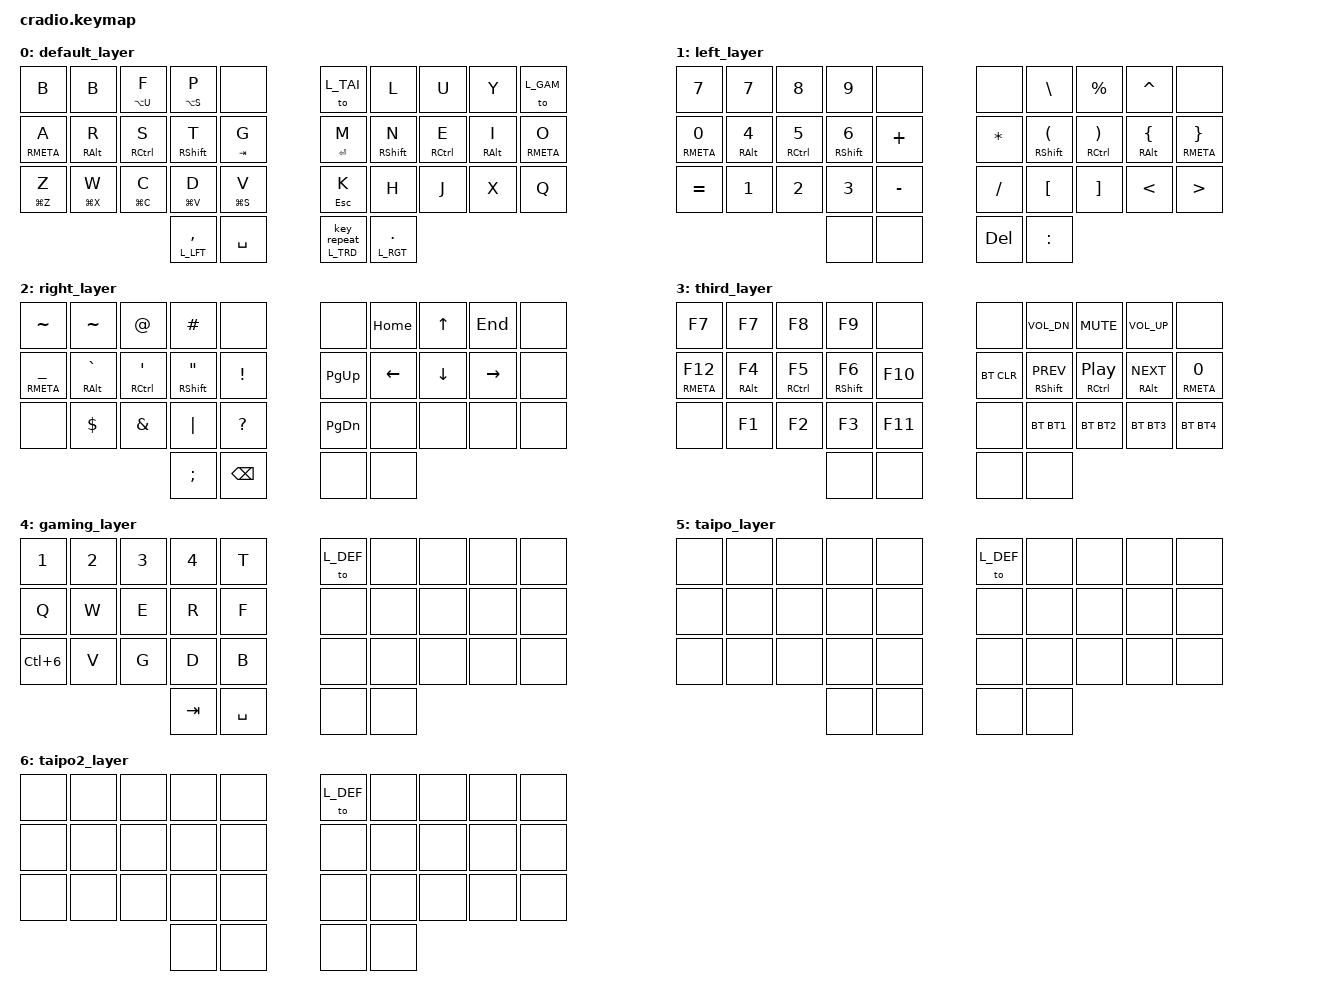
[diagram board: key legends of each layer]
#include <behaviors.dtsi>
#include <dt-bindings/zmk/keys.h>
#include <dt-bindings/zmk/bt.h>

// layers
#define L_DEF   0
#define L_LFT   1
#define L_RGT   2
#define L_TRD   3
#define L_GAM   4
#define L_TAI   5
#define L_TAI2  6

// redefine to fit width of three
#define TRN     &trans
#define NON     &none
#define KEY     &kp
#define BLU     &bt
#define REP     &key_repeat
#define BTL     &bootloader
#define CAP     &caps_word
#define RES     &kp 0

// redefine to fit width of five
#define BTCLR   BT_CLR
#define BT1     BT_SEL 0
#define BT2     BT_SEL 1
#define BT3     BT_SEL 2
#define BT4     BT_SEL 3
#define BT5     BT_SEL 4
#define VOLUP   C_VOL_UP
#define VOLDN   C_VOL_DN
#define MUTE    K_MUTE
#define PREV    C_PREV
#define NEXT    C_NEXT

// shortcuts
#define UML     &hm LA(U)
#define ESZ     &hm LA(S)
#define UDO     &hm LG(Z)
#define CPY     &hm LG(C)
#define KUT     &hm LG(X)
#define SAV     &hm LG(S)
#define PST     &hm LG(V)
#define FRT     &hm RET
#define FES     &hm ESC
#define FTA     &hm TAB

// home row mods
#define LMS     &hm LSHFT
#define LMC     &hm LCTRL
#define LMA     &hm LALT
#define LMM     &hm LMETA
#define RMS     &hm RSHFT
#define RMC     &hm RCTRL
#define RMA     &hm RALT
#define RMM     &hm RMETA

// layer toggles
#define LM1     &lm L_LFT
#define LM2     &lm L_RGT
#define LM3     &rm L_TRD 0
#define DEF     &to L_DEF

// taipo
#define LUI 13
#define LDI 23
#define LUM 12
#define LDM 22
#define LUR 11
#define LDR 21
#define LUP 10
#define LDP 20
#define LUT 31
#define LDT 30
#define LBI 13 23
#define LBM 12 22
#define LBR 11 21
#define LBP 10 20
#define LBT 31 30

#define RUI 16
#define RDI 26
#define RUM 17
#define RDM 27
#define RUR 18
#define RDR 28
#define RUP 19
#define RDP 29
#define RUT 32
#define RDT 33
#define RBI 16 26
#define RBM 17 27
#define RBR 18 28
#define RBP 19 29
#define RBT 32 33

#define MERGE_(a,b)  a##b
#define LABEL_(a) MERGE_(combo_, a)
#define UNIQUE_COMBO LABEL_(__LINE__)

#define LAYER_COMBO(KEYPOS)           \
    UNIQUE_COMBO {                    \
        layers = <L_TAI>;             \
        timeout-ms = <50>;            \
        key-positions = <KEYPOS>;     \
        bindings = <&llm L_TAI2 SPC>; \
    };

#define COMBO1(KEYPOS, KEY)        \
    UNIQUE_COMBO {                 \
        layers = <L_TAI>;          \
        timeout-ms = <50>;         \
        key-positions = <KEYPOS>;  \
        bindings = <&kp KEY>;      \
    };

#define COMBO2(KEYPOS, KEY)        \
    UNIQUE_COMBO {                 \
        layers = <L_TAI2>;         \
        timeout-ms = <50>;         \
        key-positions = <KEYPOS>;  \
        bindings = <&kp KEY>;      \
    };

/ {
  combos {
    compatible = "zmk,combos";
        // thumbs
        COMBO1(LDT                ,              BSPC)
        COMBO1(RDT                ,              BSPC)
        LAYER_COMBO(LUT)
        LAYER_COMBO(RUT)

        // letters
        COMBO1(                LDP,                 A)
        COMBO1(                RDP,                 A)
        COMBO1(            LUR LUP,                 B)
        COMBO1(            RUR RUP,                 B)
        COMBO1(    LDI     LDR    ,                 C)
        COMBO1(    RDI     RDR    ,                 C)
        COMBO1(    LDI         LDP,                 D)
        COMBO1(    RDI         RDP,                 D)
        COMBO1(    LDI            ,                 E)
        COMBO1(    RDI            ,                 E)
        COMBO1(    LUI     LUR    ,                 F)
        COMBO1(    RUI     RUR    ,                 F)
        COMBO1(    LUI         LUP,                 G)
        COMBO1(    RUI         RUP,                 G)
        COMBO1(    LDI LDM        ,                 H)
        COMBO1(    RDI RDM        ,                 H)
        COMBO1(    LUI            ,                 I)
        COMBO1(    RUI            ,                 I)
        COMBO1(        LUM     LDP,                 J)
        COMBO1(        RUM     RDP,                 J)
        COMBO1(    LUI     LDR    ,                 K)
        COMBO1(    RUI     RDR    ,                 K)
        COMBO1(            LDR LDP,                 L)
        COMBO1(            RDR RDP,                 L)
        COMBO1(    LDI         LUP,                 M)
        COMBO1(    RDI         RUP,                 M)
        COMBO1(        LUM        ,                 N)
        COMBO1(        RUM        ,                 N)
        COMBO1(            LDR    ,                 O)
        COMBO1(            RDR    ,                 O)
        COMBO1(        LUM LUR    ,                 P)
        COMBO1(        RUM RUR    ,                 P)
        COMBO1(        LDM     LDP,                 Q)
        COMBO1(        RDM     RDP,                 Q)
        COMBO1(                LUP,                 R)
        COMBO1(                RUP,                 R)
        COMBO1(            LUR    ,                 S)
        COMBO1(            RUR    ,                 S)
        COMBO1(        LDM        ,                 T)
        COMBO1(        RDM        ,                 T)
        COMBO1(        LDM LDR    ,                 U)
        COMBO1(        RDM RDR    ,                 U)
        COMBO1(    LDI     LUR    ,                 V)
        COMBO1(    RDI     RUR    ,                 V)
        COMBO1(    LUI         LDP,                 W)
        COMBO1(    RUI         RDP,                 W)
        COMBO1(        LDM     LUP,                 X)
        COMBO1(        RDM     RUP,                 X)
        COMBO1(    LUI LUM        ,                 Y)
        COMBO1(    RUI RUM        ,                 Y)
        COMBO1(        LUM     LUP,                 Z)
        COMBO1(        RUM     RUP,                 Z)
        
        // capital letters
        COMBO1(LUT             LDP,             LS(A))
        COMBO1(RUT             RDP,             LS(A))
        COMBO1(LUT         LUR LUP,             LS(B))
        COMBO1(RUT         RUR RUP,             LS(B))
        COMBO1(LUT LDI     LDR    ,             LS(C))
        COMBO1(RUT RDI     RDR    ,             LS(C))
        COMBO1(LUT LDI         LDP,             LS(D))
        COMBO1(RUT RDI         RDP,             LS(D))
        COMBO1(LUT LDI            ,             LS(E))
        COMBO1(RUT RDI            ,             LS(E))
        COMBO1(LUT LUI     LUR    ,             LS(F))
        COMBO1(RUT RUI     RUR    ,             LS(F))
        COMBO1(LUT LUI         LUP,             LS(G))
        COMBO1(RUT RUI         RUP,             LS(G))
        COMBO1(LUT LDI LDM        ,             LS(H))
        COMBO1(RUT RDI RDM        ,             LS(H))
        COMBO1(LUT LUI            ,             LS(I))
        COMBO1(RUT RUI            ,             LS(I))
        COMBO1(LUT     LUM     LDP,             LS(J))
        COMBO1(RUT     RUM     RDP,             LS(J))
        COMBO1(LUT LUI     LDR    ,             LS(K))
        COMBO1(RUT RUI     RDR    ,             LS(K))
        COMBO1(LUT         LDR LDP,             LS(L))
        COMBO1(RUT         RDR RDP,             LS(L))
        COMBO1(LUT LDI         LUP,             LS(M))
        COMBO1(RUT RDI         RUP,             LS(M))
        COMBO1(LUT     LUM        ,             LS(N))
        COMBO1(RUT     RUM        ,             LS(N))
        COMBO1(LUT         LDR    ,             LS(O))
        COMBO1(RUT         RDR    ,             LS(O))
        COMBO1(LUT     LUM LUR    ,             LS(P))
        COMBO1(RUT     RUM RUR    ,             LS(P))
        COMBO1(LUT     LDM     LDP,             LS(Q))
        COMBO1(RUT     RDM     RDP,             LS(Q))
        COMBO1(LUT             LUP,             LS(R))
        COMBO1(RUT             RUP,             LS(R))
        COMBO1(LUT         LUR    ,             LS(S))
        COMBO1(RUT         RUR    ,             LS(S))
        COMBO1(LUT     LDM        ,             LS(T))
        COMBO1(RUT     RDM        ,             LS(T))
        COMBO1(LUT     LDM LDR    ,             LS(U))
        COMBO1(RUT     RDM RDR    ,             LS(U))
        COMBO1(LUT LDI     LUR    ,             LS(V))
        COMBO1(RUT RDI     RUR    ,             LS(V))
        COMBO1(LUT LUI         LDP,             LS(W))
        COMBO1(RUT RUI         RDP,             LS(W))
        COMBO1(LUT     LDM     LUP,             LS(X))
        COMBO1(RUT     RDM     RUP,             LS(X))
        COMBO1(LUT LUI LUM        ,             LS(Y))
        COMBO1(RUT RUI RUM        ,             LS(Y))
        COMBO1(LUT     LUM     LUP,             LS(Z))
        COMBO1(RUT     RUM     RUP,             LS(Z))

        // numbers
        COMBO1(LDT LDI LDM        ,                N0)
        COMBO1(RDT RDI RDM        ,                N0)
        COMBO1(LDT LDI     LDR    ,                N1)
        COMBO1(RDT RDI     RDR    ,                N1)
        COMBO1(LDT     LDM LDR    ,                N2)
        COMBO1(RDT     RDM RDR    ,                N2)
        COMBO1(LDT     LDM     LDP,                N3)
        COMBO1(RDT     RDM     RDP,                N3)
        COMBO1(LDT         LDR LDP,                N4)
        COMBO1(RDT         RDR RDP,                N4)
        COMBO1(LDT LUI LUM        ,                N5)
        COMBO1(RDT RUI RUM        ,                N5)
        COMBO1(LDT LUI     LUR    ,                N6)
        COMBO1(RDT RUI     RUR    ,                N6)
        COMBO1(LDT     LUM LUR    ,                N7)
        COMBO1(RDT     RUM RUR    ,                N7)
        COMBO1(LDT     LUM     LUP,                N8)
        COMBO1(RDT     RUM     RUP,                N8)
        COMBO1(LDT         LUR LUP,                N9)
        COMBO1(RDT         RUR RUP,                N9)

        // symbols
        COMBO1(LDT LDI            ,              LPAR)
        COMBO1(RDT RDI            ,              LPAR)
        COMBO1(LDT LUI            ,              RPAR)
        COMBO1(RDT RUI            ,              RPAR)
        COMBO1(LDT     LDM        ,              LBKT)
        COMBO1(RDT     RDM        ,              LBKT)
        COMBO1(LDT     LUM        ,              RBKT)
        COMBO1(RDT     RUM        ,              RBKT)
        COMBO1(LDT         LDR    ,              LBRC)
        COMBO1(RDT         RDR    ,              LBRC)
        COMBO1(LDT         LUR    ,              RBRC)
        COMBO1(RDT         RUR    ,              RBRC)
        COMBO1(LDT             LDP,                LT)
        COMBO1(RDT             RDP,                LT)
        COMBO1(LDT             LUP,                GT)
        COMBO1(RDT             RUP,                GT)
        COMBO1(    LUI LDM        ,             QMARK)
        COMBO1(    RUI RDM        ,             QMARK)
        COMBO1(    LDI LUM        ,             COMMA)
        COMBO1(    RDI RUM        ,             COMMA)
        COMBO1(        LUM LDR    ,             MINUS)
        COMBO1(        RUM RDR    ,             MINUS)
        COMBO1(        LDM LUR    ,              FSLH)
        COMBO1(        RDM RUR    ,              FSLH)
        COMBO1(            LUR LDP,               SQT)
        COMBO1(            RUR RDP,               SQT)
        COMBO1(            LDR LUP,              SEMI)
        COMBO1(            RDR RUP,              SEMI)
        COMBO1(LUT LUI LDM        ,              EXCL)
        COMBO1(RUT RUI RDM        ,              EXCL)
        COMBO1(LUT LDI LUM        ,               DOT)
        COMBO1(RUT RDI RUM        ,               DOT)
        COMBO1(LUT     LUM LDR    ,             UNDER)
        COMBO1(RUT     RUM RDR    ,             UNDER)
        COMBO1(LUT     LDM LUR    ,              BSLH)
        COMBO1(RUT     RDM RUR    ,              BSLH)
        COMBO1(LUT         LUR LDP,               DQT)
        COMBO1(RUT         RUR RDP,               DQT)
        COMBO1(LUT         LDR LUP,             COLON)
        COMBO1(RUT         RDR RUP,             COLON)
        COMBO1(LDT LUI LDM        ,             LA(U))
        COMBO1(RDT RUI RDM        ,             LA(U))
        COMBO1(LDT LDI LUM        ,             TILDE)
        COMBO1(RDT RDI RUM        ,             TILDE)
        COMBO1(LDT LDI     LUR    ,              STAR)
        COMBO1(RDT RDI     RUR    ,              STAR)
        COMBO1(LDT LUI     LDR    ,              PLUS)
        COMBO1(RDT RUI     RDR    ,              PLUS)
        COMBO1(LDT LUI         LDP,              AMPS)
        COMBO1(RDT RUI         RDP,              AMPS)
        COMBO1(LDT LDI         LUP,              DLLR)
        COMBO1(RDT RDI         RUP,              DLLR)
        COMBO1(LDT LUI         LUP,              HASH)
        COMBO1(RDT RUI         RUP,              HASH)
        COMBO1(LDT LDI         LDP,                AT)
        COMBO1(RDT RDI         RDP,                AT)
        COMBO1(LDT     LUM LDR    ,             PRCNT)
        COMBO1(RDT     RUM RDR    ,             PRCNT)
        COMBO1(LDT     LDM LUR    ,              PIPE)
        COMBO1(RDT     RDM RUR    ,              PIPE)
        COMBO1(LDT     LDM     LUP,             CARET)
        COMBO1(RDT     RDM     RUP,             CARET)
        COMBO1(LDT     LUM     LDP,             EQUAL)
        COMBO1(RDT     RUM     RDP,             EQUAL)
        COMBO1(LDT         LUR LDP,             GRAVE)
        COMBO1(RDT         RUR RDP,             GRAVE)
        COMBO1(LDT         LDR LUP,             LA(S))
        COMBO1(RDT         RDR RUP,             LA(S))

        // shortcuts + media
        COMBO1(    LDI LDM LDR    ,             ENTER)
        COMBO1(    RDI RDM RDR    ,             ENTER)
        COMBO1(    LUI LUM LUR    ,               TAB)
        COMBO1(    RUI RUM RUR    ,               TAB)
        COMBO1(LUT LDI LDM LDR    ,               ESC)
        COMBO1(RUT RDI RDM RDR    ,               ESC)
        COMBO1(LUT LUI LUM LUR    ,               DEL)
        COMBO1(RUT RUI RUM RUR    ,               DEL)
        COMBO1(LDT LDI LDM LDR    ,              C_PP)
        COMBO1(RDT RDI RDM RDR    ,              C_PP)
        COMBO1(LDT LUI LUM LUR    ,              MUTE)
        COMBO1(RDT RUI RUM RUR    ,              MUTE)
        COMBO1(    LUI LUM LDR    ,             LG(Z))
        COMBO1(    RDI RUM RUR    ,             LG(Z))
        COMBO1(    LDI LUM LUR    ,         LS(LG(Z)))
        COMBO1(    RUI RUM RDR    ,         LS(LG(Z)))
        COMBO1(    LDI LUM LDR    ,             LG(C))
        COMBO1(    RDI RUM RDR    ,             LG(C))
        COMBO1(    LUI LDM LUR    ,             LG(V))
        COMBO1(    RUI RDM RUR    ,             LG(V))
        COMBO1(LUT LUI LUM LDR    ,                 0)
        COMBO1(RUT RDI RUM RUR    ,                 0)
        COMBO1(LUT LDI LUM LUR    ,                 0)
        COMBO1(RUT RUI RUM RDR    ,                 0)
        COMBO1(LUT LDI LUM LDR    ,             LG(X))
        COMBO1(RUT RDI RUM RDR    ,             LG(X))
        COMBO1(LUT LUI LDM LUR    ,             LG(S))
        COMBO1(RUT RUI RDM RUR    ,             LG(S))
        COMBO1(LDT LUI LUM LDR    ,              PREV)
        COMBO1(RDT RDI RUM RUR    ,              PREV)
        COMBO1(LDT LDI LUM LUR    ,              NEXT)
        COMBO1(RDT RUI RUM RDR    ,              NEXT)
        COMBO1(LDT LDI LUM LDR    ,             VOLUP)
        COMBO1(RDT RDI RUM RDR    ,             VOLUP)
        COMBO1(LDT LUI LDM LUR    ,             VOLDN)
        COMBO1(RDT RUI RDM RUR    ,             VOLDN)

        // functions
        COMBO1(LBT LDI     LDR    ,                F1)
        COMBO1(RBT RDI     RDR    ,                F1)
        COMBO1(LBT     LDM LDR    ,                F2)
        COMBO1(RBT     RDM RDR    ,                F2)
        COMBO1(LBT     LDM     LDP,                F3)
        COMBO1(RBT     RDM     RDP,                F3)
        COMBO1(LBT         LDR LDP,                F4)
        COMBO1(RBT         RDR RDP,                F4)
        COMBO1(LBT LUI LUM        ,                F5)
        COMBO1(RBT RUI RUM        ,                F5)
        COMBO1(LBT LUI     LUR    ,                F6)
        COMBO1(RBT RUI     RUR    ,                F6)
        COMBO1(LBT     LUM LUR    ,                F7)
        COMBO1(RBT     RUM RUR    ,                F7)
        COMBO1(LBT     LUM     LUP,                F8)
        COMBO1(RBT     RUM     RUP,                F8)
        COMBO1(LBT         LUR LUP,                F9)
        COMBO1(RBT         RUR RUP,                F9)
        COMBO1(LBT LDI LDM        ,               F10)
        COMBO1(RBT RDI RDM        ,               F10)
        COMBO1(LBT LDI LUM        ,               F11)
        COMBO1(RBT RDI RUM        ,               F11)
        COMBO1(LBT LUI LDM        ,               F12)
        COMBO1(RBT RUI RDM        ,               F12)

        // modifiers
        COMBO1(    LBI            ,             LSHFT)
        COMBO1(    RBI            ,             LSHFT)
        COMBO1(        LBM        ,             LCTRL)
        COMBO1(        RBM        ,             LCTRL)
        COMBO1(            LBR    ,              LALT)
        COMBO1(            RBR    ,              LALT)
        COMBO1(                LBP,             LMETA)
        COMBO1(                RBP,             LMETA)
        COMBO1(    LBI LBM        ,         LS(LCTRL))
        COMBO1(    RBI RBM        ,         LS(LCTRL))
        COMBO1(    LBI     LBR    ,          LS(LALT))
        COMBO1(    RBI     RBR    ,          LS(LALT))
        COMBO1(    LBI         LBP,         LS(LMETA))
        COMBO1(    RBI         RBP,         LS(LMETA))
        COMBO1(        LBM LBR    ,          LC(LALT))
        COMBO1(        RBM RBR    ,          LC(LALT))
        COMBO1(        LBM     LBP,         LC(LMETA))
        COMBO1(        RBM     RBP,         LC(LMETA))
        COMBO1(            LBR LBP,         LA(LMETA))
        COMBO1(            RBR RBP,         LA(LMETA))
        COMBO1(    LBI LBM LBR    ,      LS(LC(LALT)))
        COMBO1(    RBI RBM RBR    ,      LS(LC(LALT)))
        COMBO1(    LBI LBM     LBP,     LS(LC(LMETA)))
        COMBO1(    RBI RBM     RBP,     LS(LC(LMETA)))
        COMBO1(    LBI     LBR LBP,     LS(LA(LMETA)))
        COMBO1(    RBI     RBR RBP,     LS(LA(LMETA)))
        COMBO1(        LBM LBR LBP,     LC(LA(LMETA)))
        COMBO1(        RBM RBR RBP,     LC(LA(LMETA)))
        COMBO1(    LBI LBM LBR LBP, LS(LC(LA(LMETA))))
        COMBO1(    RBI RBM RBR RBP, LS(LC(LA(LMETA))))

        // navigation
        COMBO2(            LDR    ,              LEFT)
        COMBO2(    RDI            ,              LEFT)
        COMBO2(    LDI            ,             RIGHT)
        COMBO2(            RDR    ,             RIGHT)
        COMBO2(        LUM        ,                UP)
        COMBO2(        RUM        ,                UP)
        COMBO2(        LDM        ,              DOWN)
        COMBO2(        RDM        ,              DOWN)
        COMBO2(            LUR    ,              HOME)
        COMBO2(    RUI            ,              HOME)
        COMBO2(    LUI            ,               END)
        COMBO2(            RUR    ,               END)
        COMBO2(                LUP,             PG_UP)
        COMBO2(                RUP,             PG_UP)
        COMBO2(                LDP,             PG_DN)
        COMBO2(                RDP,             PG_DN)
  };

  behaviors {
    hm: hold_mod {
      compatible = "zmk,behavior-hold-tap";
      label = "HOLD_MOD";
      #binding-cells = <2>;
      flavor = "tap-preferred";
      tapping-term-ms = <200>;
      quick-tap-ms = <175>;
      require-prior-idle-ms = <125>;
      bindings = <&kp>, <&kp>;
    };
    lm: layer_mod {
      compatible = "zmk,behavior-hold-tap";
      label = "LAYER_MOD";
      #binding-cells = <2>;
      flavor = "tap-preferred";
      tapping-term-ms = <200>;
      quick-tap-ms = <175>;
      require-prior-idle-ms = <125>;
      bindings = <&mo>, <&kp>;
    }; 
    rm: repeat_mod {
      compatible = "zmk,behavior-hold-tap";
      label = "REPEAT_MOD";
      #binding-cells = <2>;
      flavor = "tap-preferred";
      tapping-term-ms = <200>;
      quick-tap-ms = <175>;
      require-prior-idle-ms = <125>;
      bindings = <&mo>, <&key_repeat>;
    };
    llm: long_layer_mod {
      compatible = "zmk,behavior-hold-tap";
      label = "LAYER_MOD";
      #binding-cells = <2>;
      flavor = "tap-preferred";
      tapping-term-ms = <220>;
      bindings = <&mo>, <&kp>;
    }; 
  };

  keymap {
    compatible = "zmk,keymap";

    default_layer {
      bindings = <
        KEY B      KEY B      UML F      ESZ P      NON        &to L_TAI  KEY L      KEY U      KEY Y      &to L_GAM
        RMM A      RMA R      RMC S      RMS T      FTA G      FRT M      RMS N      RMC E      RMA I      RMM O
        UDO Z      KUT W      CPY C      PST D      SAV V      FES K      KEY H      KEY J      KEY X      KEY Q
                                         LM1 CMMA   KEY SPC    LM3        LM2 DOT
      >;
    };
    left_layer {
        bindings = <
        KEY N7     KEY N7     KEY N8     KEY N9     NON        NON        KEY BSLH   KEY PRCNT  KEY CARET  NON
        RMM N0     RMA N4     RMC N5     RMS N6     KEY PLUS   KEY ASTRK  RMS LPAR   RMC RPAR   RMA LBRC   RMM RBRC
        KEY EQUAL  KEY N1     KEY N2     KEY N3     KEY MINUS  KEY SLASH  KEY LBKT   KEY RBKT   KEY LT     KEY GT
                                         NON        NON        KEY DEL    KEY COLON
        >;
    };
    right_layer {
        bindings = <
        KEY TILDE  KEY TILDE  KEY AT     KEY HASH   NON        NON        KEY HOME   KEY UP     KEY END    NON
        RMM UNDER  RMA GRAVE  RMC APOS   RMS DQT    KEY EXCL   KEY PG_UP  KEY LEFT   KEY DOWN   KEY RIGHT  NON
        NON        KEY DLLR   KEY AMPS   KEY PIPE   KEY QMARK  KEY PG_DN  NON        NON        NON        NON
                                         KEY SEMI   KEY BKSP   NON        NON
        >;
    };
    third_layer {
        bindings = <
        KEY F7     KEY F7     KEY F8     KEY F9     NON        NON        KEY VOLDN  KEY MUTE  KEY VOLUP   NON
        RMM F12    RMA F4     RMC F5     RMS F6     KEY F10    BLU BTCLR  RMS PREV   RMC C_PP   RMA NEXT   RMM 0
        NON        KEY F1     KEY F2     KEY F3     KEY F11    NON        BLU BT1    BLU BT2    BLU BT3    BLU BT4
                                         NON        NON        NON        NON
        >;
    };

    gaming_layer {
        bindings = <
        KEY N1     KEY N2     KEY N3     KEY N4     KEY T      DEF        NON        NON        NON        NON        
        KEY Q      KEY W      KEY E      KEY R      KEY F      NON        NON        NON        NON        NON
        KEY LC(N6) KEY V      KEY G      KEY D      KEY B      NON        NON        NON        NON        NON
                                         KEY TAB    KEY SPC    NON        NON
      >;
    }; 

    taipo_layer {
      bindings = <
        NON NON NON NON NON DEF NON NON NON NON 
        NON NON NON NON NON NON NON NON NON NON 
        NON NON NON NON NON NON NON NON NON NON 
                    NON NON NON NON   
      >;
    };   

    taipo2_layer {
      bindings = <
        NON NON NON NON NON DEF NON NON NON NON 
        NON NON NON NON NON NON NON NON NON NON 
        NON NON NON NON NON NON NON NON NON NON 
                    NON NON NON NON   
      >;
    };   
  };
};
